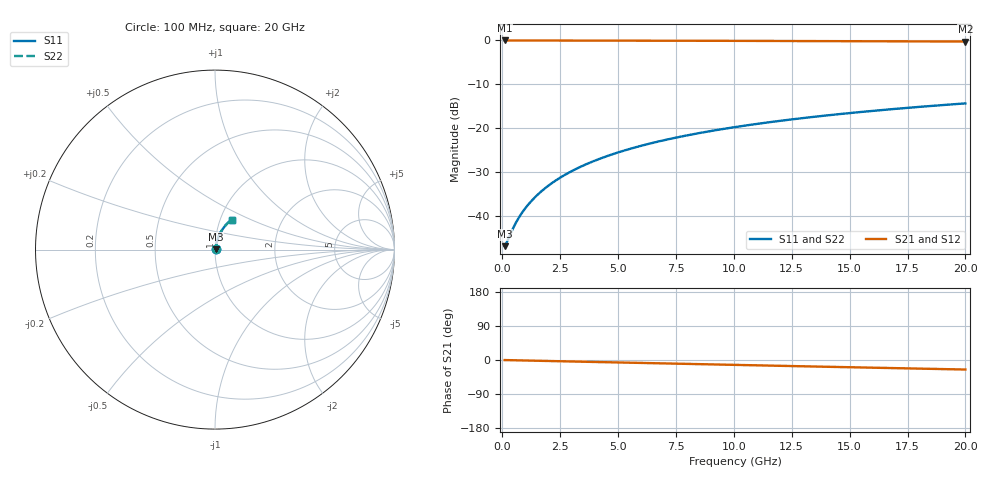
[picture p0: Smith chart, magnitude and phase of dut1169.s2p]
! Touchstone file exported from HFSS 2026.1.0
!  File:  C:/ffzhzh/LocalFiles/Ansys_Project_Files/temp_train_TMRDL_1169_1783162437_55132.aedt
!  Generated:  06:55:14 PM Jul  4, 2026
!  Design:  TMRDL
!  Project:  temp_train_TMRDL_1169_1783162437_55132
! Variables:
!  h_bsmrdl = 2um
!  h_ox = 20um
!  h_rdl = 5um
!  h_sub = 80um
!  h_tmrdl = 3.08um
!  h_tsv = 80um
!  h_via = 3um
!  l_bsmrdl = 300um
!  l_sub = 802.92um
!  l_tmrdl = 402.92um
!  m_sub = 200um
!  pitch = 20.04um
!  r_tsv = 6um
!  s_tmrdl = 10um
!  w_bsmrdl = 18um
!  w_sub = 500um
!  w_tmrdl = 10.85um
!  x_tsv_center1 = 408.345um
!  x_tsv_center2 = 726.345um
!  x_tsv_center3 = 1140.115um
!  x_tsv_center4 = 1458.115um
!  x_tsv_center5 = 1871.885um
!  x_tsv_center6 = 2189.885um
# GHz S MA R 50.000000
! Terminal data exported
! Port[1] = TM_RDL1_1_T1
! Port[2] = TM_RDL1_1_T2
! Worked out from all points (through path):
!   200 points, 100 MHz to 20 GHz, reference 50 ohm
!   highest |S21| = -0.04 dB at 100 MHz (marker M1); lowest = -0.3 dB at 20 GHz (marker M2)
!   group delay of S21, straight-line fit = 3.49 ps
!   lowest |S11| = -46.9 dB at 100 MHz (marker M3), VSWR 1.01, Z = 50.4 + j0.123 ohm
!   |S11| at or under -10 dB: start of sweep to end of sweep
!   |S22| runs from -46.9 to -14.4 dB; largest |S21 - S12| = 2.6e-15
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0.1  0.004541 15.6  0.9956 -0.1  0.9956 -0.1  0.004541 15.6
! Gamma 0 0 0 0
! Port Impedance 50 0 50 0
0.2  0.005067 28.5  0.9956 -0.3  0.9956 -0.3  0.005067 28.5
0.5  0.007569 50.3  0.9952 -0.7  0.9952 -0.7  0.007569 50.3
0.7  0.00945 57.3  0.995 -1.0  0.995 -1.0  0.00945 57.3
0.8  0.0104 59.8  0.9949 -1.1  0.9949 -1.1  0.0104 59.8
1  0.01233 63.6  0.9947 -1.3  0.9947 -1.3  0.01233 63.6
1.2  0.01428 66.5  0.9946 -1.6  0.9946 -1.6  0.01428 66.5
1.4  0.01625 68.6  0.9945 -1.9  0.9945 -1.9  0.01625 68.6
1.8  0.02024 71.6  0.9942 -2.4  0.9942 -2.4  0.02024 71.6
2.3  0.0253 73.9  0.994 -3.0  0.994 -3.0  0.0253 73.9
2.9  0.03144 75.3  0.9936 -3.8  0.9936 -3.8  0.03144 75.3
3.5  0.03759 76.0  0.9932 -4.6  0.9932 -4.6  0.03759 76.0
4.2  0.04477 76.3  0.9926 -5.5  0.9926 -5.5  0.04477 76.3
5  0.05294 76.1  0.9919 -6.5  0.9919 -6.5  0.05294 76.1
5.9  0.06206 75.7  0.9909 -7.7  0.9909 -7.7  0.06206 75.7
6.8  0.0711 75.0  0.9898 -8.8  0.9898 -8.8  0.0711 75.0
8.3  0.08593 73.6  0.9879 -10.7  0.9879 -10.7  0.08593 73.6
10.1  0.1033 71.8  0.9852 -13.0  0.9852 -13.0  0.1033 71.8
11.7  0.1184 70.0  0.9827 -15.0  0.9827 -15.0  0.1184 70.0
13.4  0.1341 68.1  0.9799 -17.1  0.9799 -17.1  0.1341 68.1
16.7  0.1634 64.4  0.9739 -21.2  0.9739 -21.2  0.1634 64.4
20  0.1914 60.7  0.9677 -25.2  0.9677 -25.2  0.1914 60.7
